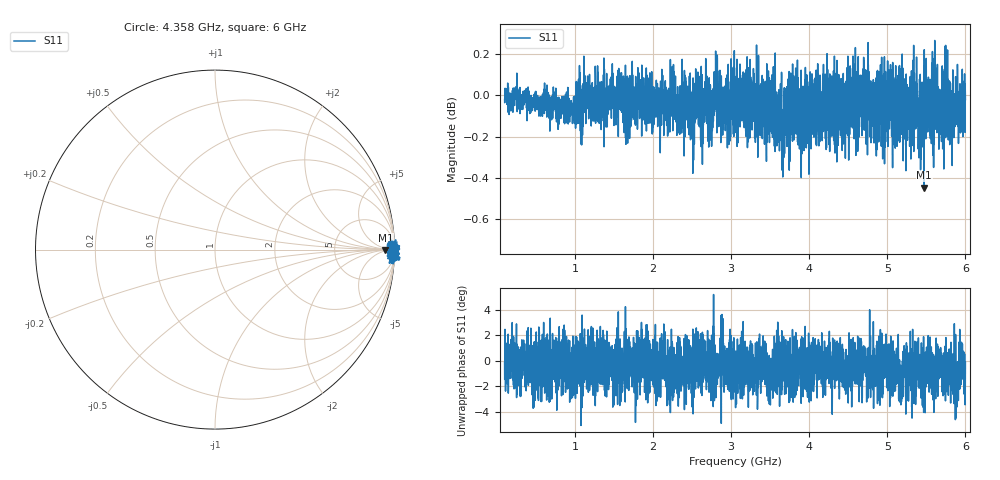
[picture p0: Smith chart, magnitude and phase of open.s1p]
# HZ S DB R 50
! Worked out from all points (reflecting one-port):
!   4001 points, 100 MHz to 6 GHz, reference 50 ohm
!   lowest |S11| = -0.4 dB at 5.472 GHz (marker M1), VSWR 38.74, Z = 1.92e+03 - j160 ohm
!   phase of S11 starts at -0 deg and turns +0 deg over the sweep
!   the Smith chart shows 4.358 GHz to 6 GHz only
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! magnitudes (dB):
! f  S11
! 100 MHz  0.0
! 837.5 MHz  -0.1
! 1.575 GHz  0.0
! 1.652 GHz  -0.1
! 2.249 GHz  0.0
! 2.312 GHz  0.0
! 2.507 GHz  0.0
! 2.577 GHz  -0.1
! 2.743 GHz  -0.1
! 2.804 GHz  0.1
! 2.897 GHz  0.0
! 3.05 GHz  0.0
! 3.261 GHz  0.0
! 3.678 GHz  -0.1
! 3.788 GHz  0.2
! 3.891 GHz  -0.1
! 3.995 GHz  -0.1
! 4.525 GHz  0.1
! 5.263 GHz  0.0
! 5.36 GHz  -0.1
! 5.422 GHz  0.1
! 5.472 GHz  -0.4
! 5.563 GHz  -0.2
! 5.624 GHz  0.0
! 5.681 GHz  -0.1
! 5.768 GHz  0.0
! 5.842 GHz  -0.2
! 6 GHz  0.0
